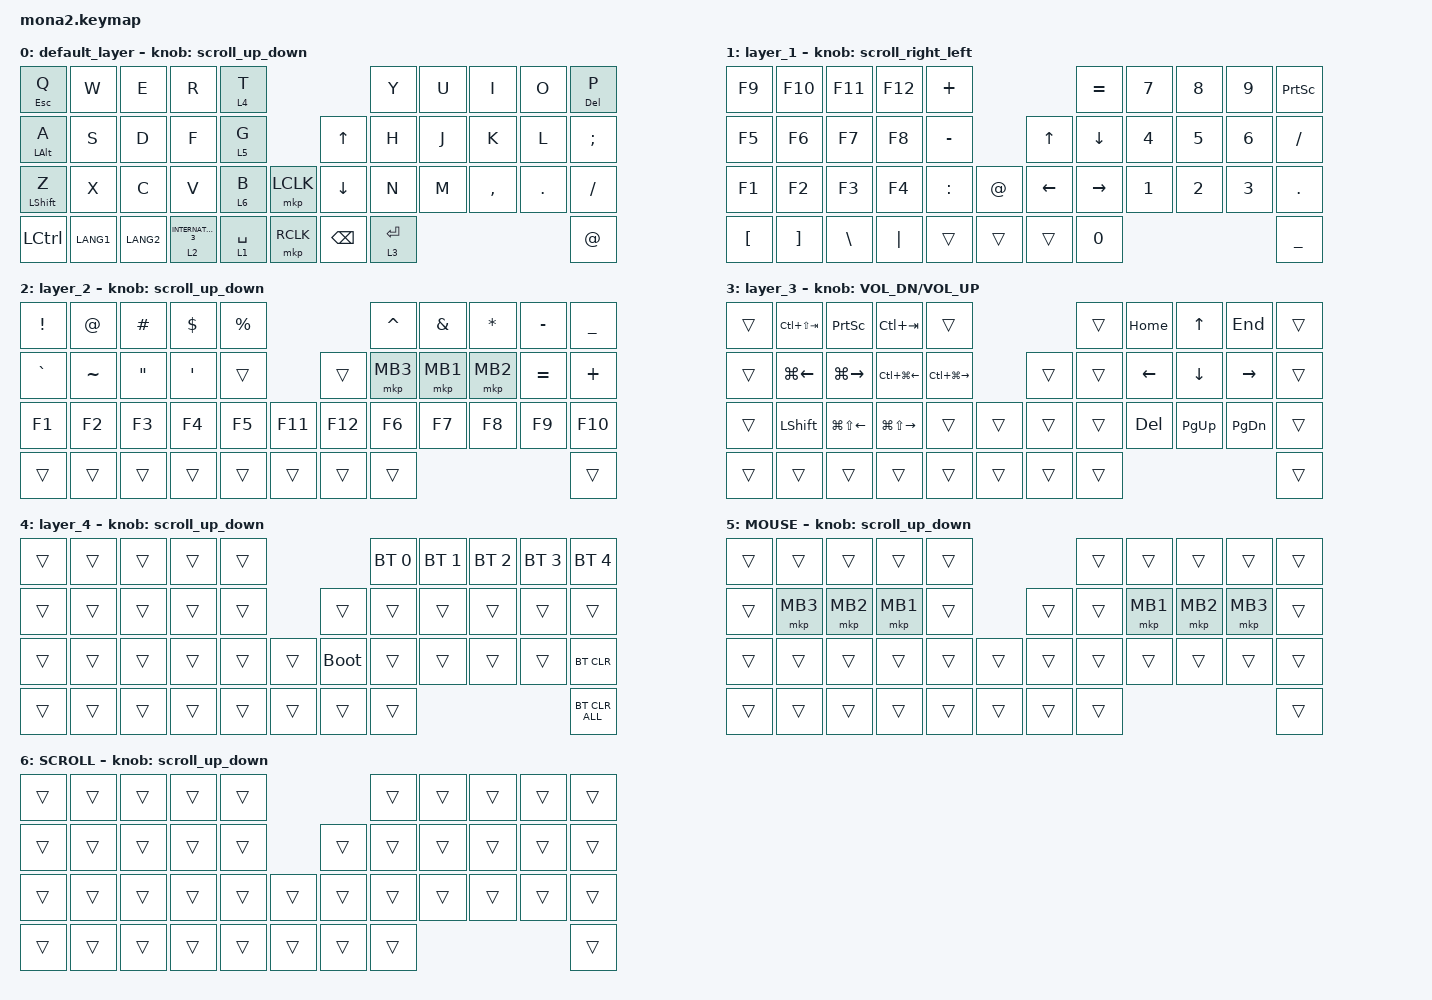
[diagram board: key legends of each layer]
#include <input/processors.dtsi>
#include <dt-bindings/zmk/input_transform.h>
#include <zephyr/dt-bindings/input/input-event-codes.h>
#include <behaviors.dtsi>
#include <dt-bindings/zmk/bt.h>
#include <dt-bindings/zmk/keys.h>
#include <dt-bindings/zmk/pointing.h>

#define ZMK_POINTING_DEFAULT_SCRL_VAL 100
#define MOUSE 5
#define SCROLL 6

&mt {
    flavor = "balanced";
    quick-tap-ms = <0>;
};

&lt {
    quick-tap-ms = <300>;
    flavor = "balanced";
};

/ {
    combos {
        compatible = "zmk,combos";

        layer4_ESC {
            bindings = <&lt 4 ESC>;
            key-positions = <39 38>;
        };

        tab {
            bindings = <&kp TAB>;
            key-positions = <11 12>;
        };
    };

    macros {
        to_layer_0: to_layer_0 {
            compatible = "zmk,behavior-macro-one-param";
            #binding-cells = <1>;
            bindings = <&to 0 &macro_param_1to1 &kp MACRO_PLACEHOLDER>;
            label = "TO_LAYER_0";
        };
    };

    behaviors {
        lt_to_layer_0: lt_to_layer_0 {
            compatible = "zmk,behavior-hold-tap";
            label = "LAYER_TAP_TO_0";
            bindings = <&mo>, <&to_layer_0>;

            #binding-cells = <2>;
            tapping-term-ms = <200>;
        };

        scroll_up_down: mouse_wheel_up_down {
            compatible = "zmk,behavior-sensor-rotate";
            #sensor-binding-cells = <0>;
            bindings = <&msc SCRL_DOWN>, <&msc SCRL_UP>;

            tap-ms = <20>;
        };

        scroll_right_left: mouse_wheel_right_left {
            compatible = "zmk,behavior-sensor-rotate";
            #sensor-binding-cells = <0>;
            bindings = <&msc SCRL_LEFT>, <&msc SCRL_RIGHT>;

            tap-ms = <20>;
        };
    };

    keymap {
        compatible = "zmk,keymap";

        default_layer {
            bindings = <
&mt ESCAPE Q      &kp W      &kp E      &kp R                  &lt 4 T                                   &kp Y        &kp U  &kp I      &kp O    &mt DELETE P
&mt LEFT_ALT A    &kp S      &kp D      &kp F                  &lt 5 G                   &kp UP_ARROW    &kp H        &kp J  &kp K      &kp L    &kp SEMICOLON
&mt LEFT_SHIFT Z  &kp X      &kp C      &kp V                  &lt 6 B      &mkp LCLK    &kp DOWN_ARROW  &kp N        &kp M  &kp COMMA  &kp DOT  &kp SLASH
&kp LCTRL         &kp LANG1  &kp LANG2  &lt 2 INTERNATIONAL_3  &lt 1 SPACE  &mkp RCLK    &kp BACKSPACE   &lt 3 ENTER                             &kp AT_SIGN
            >;

            sensor-bindings = <&scroll_up_down>;
        };

        layer_1 {
            bindings = <
&kp F9            &kp F10            &kp F11        &kp F12   &kp PLUS                                  &kp EQUAL        &kp NUMBER_7  &kp NUMBER_8  &kp NUMBER_9  &kp PRINTSCREEN
&kp F5            &kp F6             &kp F7         &kp F8    &kp MINUS                 &kp UP_ARROW    &kp DOWN_ARROW   &kp NUMBER_4  &kp NUMBER_5  &kp NUMBER_6  &kp FSLH
&kp F1            &kp F2             &kp F3         &kp F4    &kp COLON  &kp AT_SIGN    &kp LEFT_ARROW  &kp RIGHT_ARROW  &kp NUMBER_1  &kp NUMBER_2  &kp NUMBER_3  &kp PERIOD
&kp LEFT_BRACKET  &kp RIGHT_BRACKET  &kp BACKSLASH  &kp PIPE  &trans     &trans         &trans          &kp NUMBER_0                                               &kp UNDERSCORE
            >;

            sensor-bindings = <&scroll_right_left>;
        };

        layer_2 {
            bindings = <
&kp EXCLAMATION  &kp AT_SIGN  &kp POUND          &kp DOLLAR  &kp PERCENT                      &kp CARET  &kp AMPERSAND  &kp ASTERISK  &kp MINUS  &kp UNDERSCORE
&kp GRAVE        &kp TILDE    &kp DOUBLE_QUOTES  &kp SQT     &trans                  &trans   &mkp MB3   &mkp MB1       &mkp MB2      &kp EQUAL  &kp PLUS
&kp F1           &kp F2       &kp F3             &kp F4      &kp F5       &kp F11    &kp F12  &kp F6     &kp F7         &kp F8        &kp F9     &kp F10
&trans           &trans       &trans             &trans      &trans       &trans     &trans   &trans                                             &trans
            >;

            sensor-bindings = <&scroll_up_down>;
        };

        layer_3 {
            bindings = <
&trans  &kp LC(LS(TAB))     &kp PRINTSCREEN         &kp LC(TAB)              &trans                                     &trans  &kp HOME        &kp UP_ARROW    &kp END          &trans
&trans  &kp LG(LEFT_ARROW)  &kp LG(RIGHT_ARROW)     &kp LC(LG(LEFT_ARROW))   &kp LC(LG(RIGHT_ARROW))            &trans  &trans  &kp LEFT_ARROW  &kp DOWN_ARROW  &kp RIGHT_ARROW  &trans
&trans  &kp LEFT_SHIFT      &kp LG(LS(LEFT_ARROW))  &kp LG(LS(RIGHT_ARROW))  &trans                   &trans    &trans  &trans  &kp DELETE      &kp PAGE_UP     &kp PAGE_DOWN    &trans
&trans  &trans              &trans                  &trans                   &trans                   &trans    &trans  &trans                                                   &trans
            >;

            sensor-bindings = <&inc_dec_kp C_VOL_DN C_VOL_UP>;
        };

        layer_4 {
            bindings = <
&trans  &trans  &trans  &trans  &trans                         &bt BT_SEL 0  &bt BT_SEL 1  &bt BT_SEL 2  &bt BT_SEL 3  &bt BT_SEL 4
&trans  &trans  &trans  &trans  &trans            &trans       &trans        &trans        &trans        &trans        &trans
&trans  &trans  &trans  &trans  &trans  &trans    &bootloader  &trans        &trans        &trans        &trans        &bt BT_CLR
&trans  &trans  &trans  &trans  &trans  &trans    &trans       &trans                                                  &bt BT_CLR_ALL
            >;

            sensor-bindings = <&scroll_up_down>;
        };

        MOUSE {
            bindings = <
&trans  &trans    &trans    &trans    &trans                    &trans  &trans    &trans    &trans    &trans
&trans  &mkp MB3  &mkp MB2  &mkp MB1  &trans            &trans  &trans  &mkp MB1  &mkp MB2  &mkp MB3  &trans
&trans  &trans    &trans    &trans    &trans  &trans    &trans  &trans  &trans    &trans    &trans    &trans
&trans  &trans    &trans    &trans    &trans  &trans    &trans  &trans                                &trans
            >;

            sensor-bindings = <&scroll_up_down>;
        };

        SCROLL {
            bindings = <
&trans  &trans  &trans  &trans  &trans                    &trans  &trans  &trans  &trans  &trans
&trans  &trans  &trans  &trans  &trans            &trans  &trans  &trans  &trans  &trans  &trans
&trans  &trans  &trans  &trans  &trans  &trans    &trans  &trans  &trans  &trans  &trans  &trans
&trans  &trans  &trans  &trans  &trans  &trans    &trans  &trans                          &trans
            >;

            sensor-bindings = <&scroll_up_down>;
        };
    };
};
